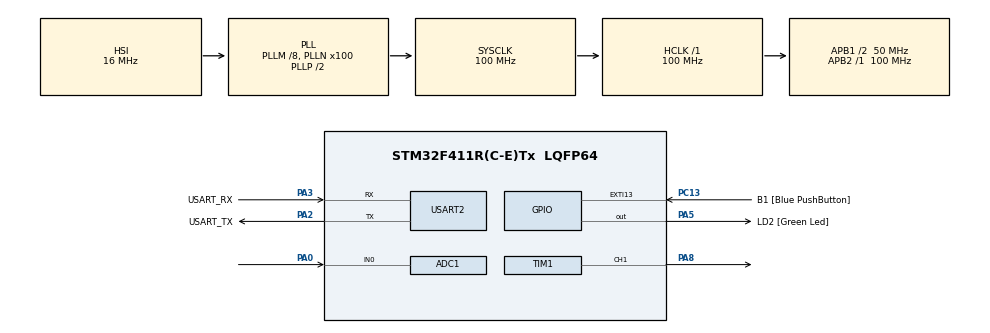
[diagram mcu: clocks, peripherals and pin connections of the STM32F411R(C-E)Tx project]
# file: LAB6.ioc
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ADC1.Channel-0\#ChannelRegularConversion=ADC_CHANNEL_0
ADC1.ExternalTrigConv=ADC_EXTERNALTRIGCONV_T3_TRGO
ADC1.NbrOfConversionFlag=1
ADC1.Rank-0\#ChannelRegularConversion=1
ADC1.SamplingTime-0\#ChannelRegularConversion=ADC_SAMPLETIME_3CYCLES
ADC1.master=1
Mcu.Family=STM32F4
Mcu.Name=STM32F411R(C-E)Tx
Mcu.Package=LQFP64
NVIC.ADC_IRQn=true\:0\:0\:false\:false\:true\:true\:true
NVIC.PriorityGroup=NVIC_PRIORITYGROUP_0
NVIC.TIM1_TRG_COM_TIM11_IRQn=true\:0\:0\:false\:false\:true\:true\:true
PA0-WKUP.Signal=ADCx_IN0
PA13.GPIO_Label=TMS
PA13.Mode=Serial_Wire
PA13.Signal=SYS_JTMS-SWDIO
PA14.GPIO_Label=TCK
PA14.Mode=Serial_Wire
PA14.Signal=SYS_JTCK-SWCLK
PA2.GPIO_Label=USART_TX
PA2.Mode=Asynchronous
PA2.Signal=USART2_TX
PA3.GPIO_Label=USART_RX
PA3.Mode=Asynchronous
PA3.Signal=USART2_RX
PA5.GPIO_Label=LD2 [Green Led]
PA5.Signal=GPIO_Output
PA8.Signal=S_TIM1_CH1
PB3.GPIO_Label=SWO
PB3.Signal=SYS_JTDO-SWO
PC13-ANTI_TAMP.GPIO_Label=B1 [Blue PushButton]
PC13-ANTI_TAMP.GPIO_ModeDefaultEXTI=GPIO_MODE_IT_FALLING
PC13-ANTI_TAMP.Signal=GPXTI13
PC14-OSC32_IN.Mode=LSE-External-Oscillator
PC14-OSC32_IN.Signal=RCC_OSC32_IN
PC15-OSC32_OUT.Mode=LSE-External-Oscillator
PC15-OSC32_OUT.Signal=RCC_OSC32_OUT
PH0\ -\ OSC_IN.Mode=HSE-External-Clock-Source
PH0\ -\ OSC_IN.Signal=RCC_OSC_IN
PH1\ -\ OSC_OUT.Mode=HSE-External-Clock-Source
PH1\ -\ OSC_OUT.Signal=RCC_OSC_OUT
ProjectManager.HeapSize=0x200
ProjectManager.StackSize=0x400
ProjectManager.TargetToolchain=STM32CubeIDE
RCC.48MHZClocksFreq_Value=50000000
RCC.AHBFreq_Value=100000000
RCC.APB1CLKDivider=RCC_HCLK_DIV2
RCC.APB1Freq_Value=50000000
RCC.APB1TimFreq_Value=100000000
RCC.APB2Freq_Value=100000000
RCC.APB2TimFreq_Value=100000000
RCC.CortexFreq_Value=100000000
RCC.FLatency-AdvancedSettings=FLASH_LATENCY_3
RCC.HCLKFreq_Value=100000000
RCC.HSE_VALUE=8000000
RCC.HSI_VALUE=16000000
RCC.PLLM=8
RCC.PLLN=100
RCC.SYSCLKFreq_VALUE=100000000
RCC.SYSCLKSource=RCC_SYSCLKSOURCE_PLLCLK
RCC.VCOOutputFreq_Value=200000000
SH.ADCx_IN0.0=ADC1_IN0,IN0
SH.S_TIM1_CH1.0=TIM1_CH1,PWM Generation1 CH1
TIM1.Channel-PWM\ Generation1\ CH1=TIM_CHANNEL_1
TIM1.OC1Preload_PWM=DISABLE
TIM1.Period=10000
TIM1.Pulse-PWM\ Generation1\ CH1=5000
TIM11.Prescaler=99
TIM3.Period=1000
TIM3.Prescaler=99
TIM3.TIM_MasterOutputTrigger=TIM_TRGO_UPDATE
USART2.VirtualMode=VM_ASYNC
VP_TIM11_VS_ClockSourceINT.Mode=Enable_Timer
VP_TIM1_VS_ClockSourceINT.Mode=Internal
VP_TIM3_VS_ClockSourceINT.Mode=Internal
board=NUCLEO-F411RE

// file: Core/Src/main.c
/* USER CODE BEGIN Header */
/**
 ******************************************************************************
 * @file           : main.c
 * @brief          : Main program body
 ******************************************************************************
 * @attention
 *
 * <h2><center>&copy; Copyright (c) 2021 STMicroelectronics.
 * All rights reserved.</center></h2>
 *
 * This software component is licensed by ST under BSD 3-Clause license,
 * the "License"; You may not use this file except in compliance with the
 * License. You may obtain a copy of the License at:
 *                        opensource.org/licenses/BSD-3-Clause
 *
 ******************************************************************************
 */
/* USER CODE END Header */
#include "main.h"

ADC_HandleTypeDef hadc1;

TIM_HandleTypeDef htim1;
TIM_HandleTypeDef htim3;
TIM_HandleTypeDef htim11;

UART_HandleTypeDef huart2;

/* USER CODE BEGIN PV */

uint8_t ADCUpdateFlag = 0;
uint16_t ADCFeedBack = 0;
uint16_t eint = 0;
uint16_t PWMOut = 3000;
uint16_t e = 0;
uint16_t e_prev = 0;
uint16_t e_dot = 0;
float Kp = 0;
float Ki = 0;
float Kd = 0;
float Offset = 0;
float Volt = 0;
uint64_t _micro = 0;
uint64_t TimeOutputLoop = 0;
/* USER CODE END PV */

void SystemClock_Config(void);
static void MX_GPIO_Init(void);
static void MX_USART2_UART_Init(void);
static void MX_ADC1_Init(void);
static void MX_TIM1_Init(void);
static void MX_TIM11_Init(void);
static void MX_TIM3_Init(void);
/* USER CODE BEGIN PFP */
uint64_t micros();
/* USER CODE END PFP */

int main(void) {

	/* MCU Configuration--------------------------------------------------------*/

	/* Reset of all peripherals, Initializes the Flash interface and the Systick. */
	HAL_Init();

	/* Configure the system clock */
	SystemClock_Config();

	/* Initialize all configured peripherals */
	MX_GPIO_Init();
	MX_USART2_UART_Init();
	MX_ADC1_Init();
	MX_TIM1_Init();
	MX_TIM11_Init();
	MX_TIM3_Init();
	/* USER CODE BEGIN 2 */
	HAL_ADC_Start_IT(&hadc1);
	HAL_TIM_Base_Start(&htim3);

	HAL_TIM_Base_Start(&htim1);
	HAL_TIM_PWM_Start(&htim1, TIM_CHANNEL_1);

	HAL_TIM_Base_Start_IT(&htim11);

	/* USER CODE END 2 */

	/* Infinite loop */
	while (1) {

		/* USER CODE BEGIN 3 */

		//1 Khz Loop
		if (micros() - TimeOutputLoop > 1000) {
			TimeOutputLoop = micros();
			// #001

			__HAL_TIM_SET_COMPARE(&htim1, TIM_CHANNEL_1, PWMOut);
			Volt = (3.3*ADCFeedBack)/4096;
		}

		if (ADCUpdateFlag) {
			ADCUpdateFlag = 0;
			e = 1241 - ADCFeedBack;
			//3.3 v = 4096 : 1 v = 1241
			e_dot = (e - e_prev);

			eint = eint + (e);
			PWMOut = (e*Kp) + (eint*Ki) + (e_dot*Kd) + Offset;
			e_prev = e;
			//1241 is desired
			//#002
		}

	}
	/* USER CODE END 3 */
}

void SystemClock_Config(void) {
	RCC_OscInitTypeDef RCC_OscInitStruct = { 0 };
	RCC_ClkInitTypeDef RCC_ClkInitStruct = { 0 };

	/** Configure the main internal regulator output voltage
	 */
	__HAL_RCC_PWR_CLK_ENABLE();
	__HAL_PWR_VOLTAGESCALING_CONFIG(PWR_REGULATOR_VOLTAGE_SCALE1);
	/** Initializes the RCC Oscillators according to the specified parameters
	 * in the RCC_OscInitTypeDef structure.
	 */
	RCC_OscInitStruct.OscillatorType = RCC_OSCILLATORTYPE_HSI;
	RCC_OscInitStruct.HSIState = RCC_HSI_ON;
	RCC_OscInitStruct.HSICalibrationValue = RCC_HSICALIBRATION_DEFAULT;
	RCC_OscInitStruct.PLL.PLLState = RCC_PLL_ON;
	RCC_OscInitStruct.PLL.PLLSource = RCC_PLLSOURCE_HSI;
	RCC_OscInitStruct.PLL.PLLM = 8;
	RCC_OscInitStruct.PLL.PLLN = 100;
	RCC_OscInitStruct.PLL.PLLP = RCC_PLLP_DIV2;
	RCC_OscInitStruct.PLL.PLLQ = 4;
	if (HAL_RCC_OscConfig(&RCC_OscInitStruct) != HAL_OK) {
		Error_Handler();
	}
	/** Initializes the CPU, AHB and APB buses clocks
	 */
	RCC_ClkInitStruct.ClockType = RCC_CLOCKTYPE_HCLK | RCC_CLOCKTYPE_SYSCLK
			| RCC_CLOCKTYPE_PCLK1 | RCC_CLOCKTYPE_PCLK2;
	RCC_ClkInitStruct.SYSCLKSource = RCC_SYSCLKSOURCE_PLLCLK;
	RCC_ClkInitStruct.AHBCLKDivider = RCC_SYSCLK_DIV1;
	RCC_ClkInitStruct.APB1CLKDivider = RCC_HCLK_DIV2;
	RCC_ClkInitStruct.APB2CLKDivider = RCC_HCLK_DIV1;

	if (HAL_RCC_ClockConfig(&RCC_ClkInitStruct, FLASH_LATENCY_3) != HAL_OK) {
		Error_Handler();
	}
}

static void MX_ADC1_Init(void) {

	ADC_ChannelConfTypeDef sConfig = { 0 };

	/** Configure the global features of the ADC (Clock, Resolution, Data Alignment and number of conversion)
	 */
	hadc1.Instance = ADC1;
	hadc1.Init.ClockPrescaler = ADC_CLOCK_SYNC_PCLK_DIV4;
	hadc1.Init.Resolution = ADC_RESOLUTION_12B;
	hadc1.Init.ScanConvMode = DISABLE;
	hadc1.Init.ContinuousConvMode = DISABLE;
	hadc1.Init.DiscontinuousConvMode = DISABLE;
	hadc1.Init.ExternalTrigConvEdge = ADC_EXTERNALTRIGCONVEDGE_RISING;
	hadc1.Init.ExternalTrigConv = ADC_EXTERNALTRIGCONV_T3_TRGO;
	hadc1.Init.DataAlign = ADC_DATAALIGN_RIGHT;
	hadc1.Init.NbrOfConversion = 1;
	hadc1.Init.DMAContinuousRequests = DISABLE;
	hadc1.Init.EOCSelection = ADC_EOC_SINGLE_CONV;
	if (HAL_ADC_Init(&hadc1) != HAL_OK) {
		Error_Handler();
	}
	/** Configure for the selected ADC regular channel its corresponding rank in the sequencer and its sample time.
	 */
	sConfig.Channel = ADC_CHANNEL_0;
	sConfig.Rank = 1;
	sConfig.SamplingTime = ADC_SAMPLETIME_3CYCLES;
	if (HAL_ADC_ConfigChannel(&hadc1, &sConfig) != HAL_OK) {
		Error_Handler();
	}

}

static void MX_TIM1_Init(void) {

	TIM_ClockConfigTypeDef sClockSourceConfig = { 0 };
	TIM_MasterConfigTypeDef sMasterConfig = { 0 };
	TIM_OC_InitTypeDef sConfigOC = { 0 };
	TIM_BreakDeadTimeConfigTypeDef sBreakDeadTimeConfig = { 0 };

	htim1.Instance = TIM1;
	htim1.Init.Prescaler = 1;
	htim1.Init.CounterMode = TIM_COUNTERMODE_UP;
	htim1.Init.Period = 10000;
	htim1.Init.ClockDivision = TIM_CLOCKDIVISION_DIV1;
	htim1.Init.RepetitionCounter = 0;
	htim1.Init.AutoReloadPreload = TIM_AUTORELOAD_PRELOAD_ENABLE;
	if (HAL_TIM_Base_Init(&htim1) != HAL_OK) {
		Error_Handler();
	}
	sClockSourceConfig.ClockSource = TIM_CLOCKSOURCE_INTERNAL;
	if (HAL_TIM_ConfigClockSource(&htim1, &sClockSourceConfig) != HAL_OK) {
		Error_Handler();
	}
	if (HAL_TIM_PWM_Init(&htim1) != HAL_OK) {
		Error_Handler();
	}
	sMasterConfig.MasterOutputTrigger = TIM_TRGO_RESET;
	sMasterConfig.MasterSlaveMode = TIM_MASTERSLAVEMODE_DISABLE;
	if (HAL_TIMEx_MasterConfigSynchronization(&htim1, &sMasterConfig)
			!= HAL_OK) {
		Error_Handler();
	}
	sConfigOC.OCMode = TIM_OCMODE_PWM1;
	sConfigOC.Pulse = 5000;
	sConfigOC.OCPolarity = TIM_OCPOLARITY_HIGH;
	sConfigOC.OCNPolarity = TIM_OCNPOLARITY_HIGH;
	sConfigOC.OCFastMode = TIM_OCFAST_DISABLE;
	sConfigOC.OCIdleState = TIM_OCIDLESTATE_RESET;
	sConfigOC.OCNIdleState = TIM_OCNIDLESTATE_RESET;
	if (HAL_TIM_PWM_ConfigChannel(&htim1, &sConfigOC, TIM_CHANNEL_1)
			!= HAL_OK) {
		Error_Handler();
	}
	__HAL_TIM_DISABLE_OCxPRELOAD(&htim1, TIM_CHANNEL_1);
	sBreakDeadTimeConfig.OffStateRunMode = TIM_OSSR_DISABLE;
	sBreakDeadTimeConfig.OffStateIDLEMode = TIM_OSSI_DISABLE;
	sBreakDeadTimeConfig.LockLevel = TIM_LOCKLEVEL_OFF;
	sBreakDeadTimeConfig.DeadTime = 0;
	sBreakDeadTimeConfig.BreakState = TIM_BREAK_DISABLE;
	sBreakDeadTimeConfig.BreakPolarity = TIM_BREAKPOLARITY_HIGH;
	sBreakDeadTimeConfig.AutomaticOutput = TIM_AUTOMATICOUTPUT_DISABLE;
	if (HAL_TIMEx_ConfigBreakDeadTime(&htim1, &sBreakDeadTimeConfig)
			!= HAL_OK) {
		Error_Handler();
	}
	HAL_TIM_MspPostInit(&htim1);

}

static void MX_TIM3_Init(void) {

	TIM_ClockConfigTypeDef sClockSourceConfig = { 0 };
	TIM_MasterConfigTypeDef sMasterConfig = { 0 };

	htim3.Instance = TIM3;
	htim3.Init.Prescaler = 100;
	htim3.Init.CounterMode = TIM_COUNTERMODE_UP;
	htim3.Init.Period = 2000;
	htim3.Init.ClockDivision = TIM_CLOCKDIVISION_DIV1;
	htim3.Init.AutoReloadPreload = TIM_AUTORELOAD_PRELOAD_DISABLE;
	if (HAL_TIM_Base_Init(&htim3) != HAL_OK) {
		Error_Handler();
	}
	sClockSourceConfig.ClockSource = TIM_CLOCKSOURCE_INTERNAL;
	if (HAL_TIM_ConfigClockSource(&htim3, &sClockSourceConfig) != HAL_OK) {
		Error_Handler();
	}
	sMasterConfig.MasterOutputTrigger = TIM_TRGO_UPDATE;
	sMasterConfig.MasterSlaveMode = TIM_MASTERSLAVEMODE_DISABLE;
	if (HAL_TIMEx_MasterConfigSynchronization(&htim3, &sMasterConfig)
			!= HAL_OK) {
		Error_Handler();
	}

}

static void MX_TIM11_Init(void) {

	htim11.Instance = TIM11;
	htim11.Init.Prescaler = 100;
	htim11.Init.CounterMode = TIM_COUNTERMODE_UP;
	htim11.Init.Period = 65535;
	htim11.Init.ClockDivision = TIM_CLOCKDIVISION_DIV1;
	htim11.Init.AutoReloadPreload = TIM_AUTORELOAD_PRELOAD_DISABLE;
	if (HAL_TIM_Base_Init(&htim11) != HAL_OK) {
		Error_Handler();
	}

}

static void MX_USART2_UART_Init(void) {

	huart2.Instance = USART2;
	huart2.Init.BaudRate = 115200;
	huart2.Init.WordLength = UART_WORDLENGTH_8B;
	huart2.Init.StopBits = UART_STOPBITS_1;
	huart2.Init.Parity = UART_PARITY_NONE;
	huart2.Init.Mode = UART_MODE_TX_RX;
	huart2.Init.HwFlowCtl = UART_HWCONTROL_NONE;
	huart2.Init.OverSampling = UART_OVERSAMPLING_16;
	if (HAL_UART_Init(&huart2) != HAL_OK) {
		Error_Handler();
	}

}

static void MX_GPIO_Init(void) {
	GPIO_InitTypeDef GPIO_InitStruct = { 0 };

	/* GPIO Ports Clock Enable */
	__HAL_RCC_GPIOC_CLK_ENABLE();
	__HAL_RCC_GPIOH_CLK_ENABLE();
	__HAL_RCC_GPIOA_CLK_ENABLE();
	__HAL_RCC_GPIOB_CLK_ENABLE();

	/*Configure GPIO pin Output Level */
	HAL_GPIO_WritePin(LD2_GPIO_Port, LD2_Pin, GPIO_PIN_RESET);

	/*Configure GPIO pin : B1_Pin */
	GPIO_InitStruct.Pin = B1_Pin;
	GPIO_InitStruct.Mode = GPIO_MODE_IT_FALLING;
	GPIO_InitStruct.Pull = GPIO_NOPULL;
	HAL_GPIO_Init(B1_GPIO_Port, &GPIO_InitStruct);

	/*Configure GPIO pin : LD2_Pin */
	GPIO_InitStruct.Pin = LD2_Pin;
	GPIO_InitStruct.Mode = GPIO_MODE_OUTPUT_PP;
	GPIO_InitStruct.Pull = GPIO_NOPULL;
	GPIO_InitStruct.Speed = GPIO_SPEED_FREQ_LOW;
	HAL_GPIO_Init(LD2_GPIO_Port, &GPIO_InitStruct);

}

/* USER CODE BEGIN 4 */

void HAL_ADC_ConvCpltCallback(ADC_HandleTypeDef *hadc) {
	ADCFeedBack = HAL_ADC_GetValue(&hadc1);
	ADCUpdateFlag = 1;
}
void HAL_TIM_PeriodElapsedCallback(TIM_HandleTypeDef *htim) {
	if (htim == &htim11) {
		_micro += 65535;
	}
}

__inline__ uint64_t micros() {
	return _micro + htim11.Instance->CNT;
}
/* USER CODE END 4 */

void Error_Handler(void) {
	__disable_irq();
	while (1) {
	}
}

/************************ (C) COPYRIGHT STMicroelectronics *****END OF FILE****/
